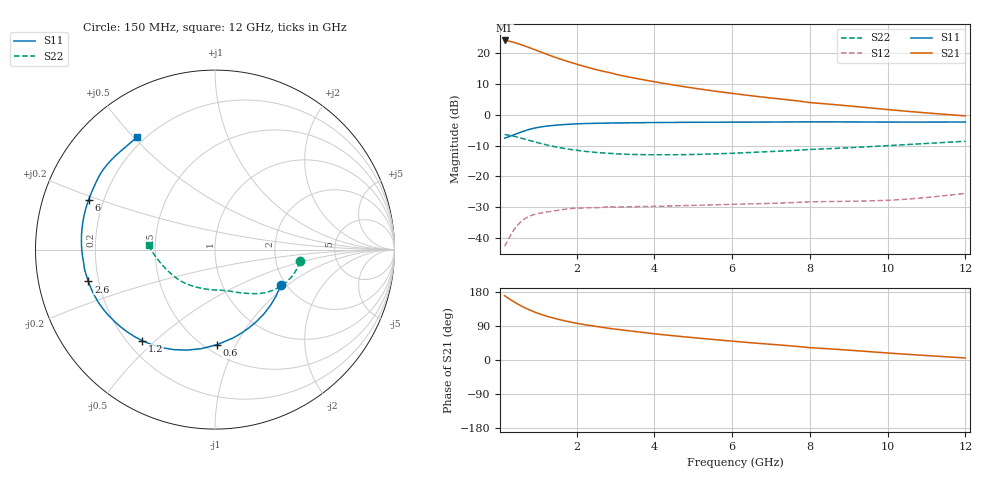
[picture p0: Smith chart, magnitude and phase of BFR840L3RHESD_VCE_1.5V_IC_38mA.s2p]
! Infineon Technologies  Discrete & RF Semiconductors
! BFR840L3RHESD
! VCE =  1.5 V,  IC =  38 mA
! Common Emitter S-Parameters:  Jun 2012
# GHz  S  MA  R  50
!  f  S11  S21  S12  S22
! GHz  MAG  ANG  MAG  ANG  MAG  ANG  MAG  ANG
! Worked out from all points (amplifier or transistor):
!   91 points, 150 MHz to 12 GHz, reference 50 ohm
!   highest |S21| = 24.1 dB at 150 MHz (marker M1)
!   |S21| within 3 dB of that: start of sweep to 926.7 MHz
!   unconditionally stable (mu >= 1): start of sweep to 802.1 MHz; 1.624 GHz to end of sweep
!   at 1.3 GHz: K = 0.97, MSG = 25.3 dB, |S12| = -31.4 dB
!   at 4.3 GHz: K = 1.88, MAG = 14.4 dB, |S12| = -29.6 dB
!   at 12 GHz: K = 3.69, MAG = 4.0 dB, |S12| = -25.5 dB
!   S11 on the Smith chart (normalised r, x): 150 MHz: 1.87, -0.90; 600 MHz: 0.57, -0.84; 1.2 GHz: 0.26, -0.46; 2.6 GHz: 0.16, -0.12; 6 GHz: 0.14, +0.19; 12 GHz: 0.17, +0.51
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0.15  0.4166 -28.5  15.97 169.6  0.0074 44.9  0.4763 -7.9
0.25  0.4384 -45.2  15.62 162.6  0.0096 49.9  0.4668 -13.9
0.4  0.4752 -66.5  14.79 152.9  0.0139 48.9  0.4458 -21.8
0.5  0.5025 -78.5  14.14 147.0  0.0167 47.0  0.4298 -26.5
0.6  0.5302 -88.8  13.46 141.5  0.0192 45.2  0.4133 -30.7
0.7  0.5569 -97.8  12.78 136.4  0.0212 43.5  0.397 -34.5
0.9  0.6025 -112.3  11.47 127.4  0.024 40.1  0.3663 -41.0
1  0.6208 -118.3  10.85 123.5  0.0249 38.4  0.3523 -43.8
1.2  0.6492 -128.5  9.716 116.7  0.0263 35.1  0.3273 -48.6
1.4  0.67 -136.7  8.731 110.9  0.0275 32.0  0.3066 -52.9
1.6  0.6863 -143.6  7.902 105.7  0.0288 29.5  0.2898 -56.7
1.9  0.7053 -151.9  6.896 99.0  0.0303 27.2  0.2704 -62.0
2.2  0.718 -158.6  6.07 93.4  0.0308 26.5  0.2558 -66.6
2.6  0.7272 -165.9  5.198 87.1  0.0313 26.5  0.2419 -72.4
3.3  0.7377 -176.1  4.136 77.7  0.0322 24.7  0.2282 -82.4
4.2  0.7479 174.0  3.253 67.0  0.0329 26.2  0.2244 -95.3
5  0.753 166.5  2.703 59.0  0.0339 28.2  0.2268 -106.6
6  0.7567 158.5  2.217 49.8  0.0352 29.8  0.2371 -120.6
6.1  0.7569 157.8  2.176 48.9  0.0354 29.9  0.2385 -122.0
8.5  0.7653 141.8  1.482 29.5  0.0391 35.4  0.2814 -152.3
10.5  0.7583 131.1  1.136 15.0  0.0427 44.0  0.3283 -171.8
12  0.7625 124.7  0.958 5.3  0.0529 47.7  0.3708 176.2
